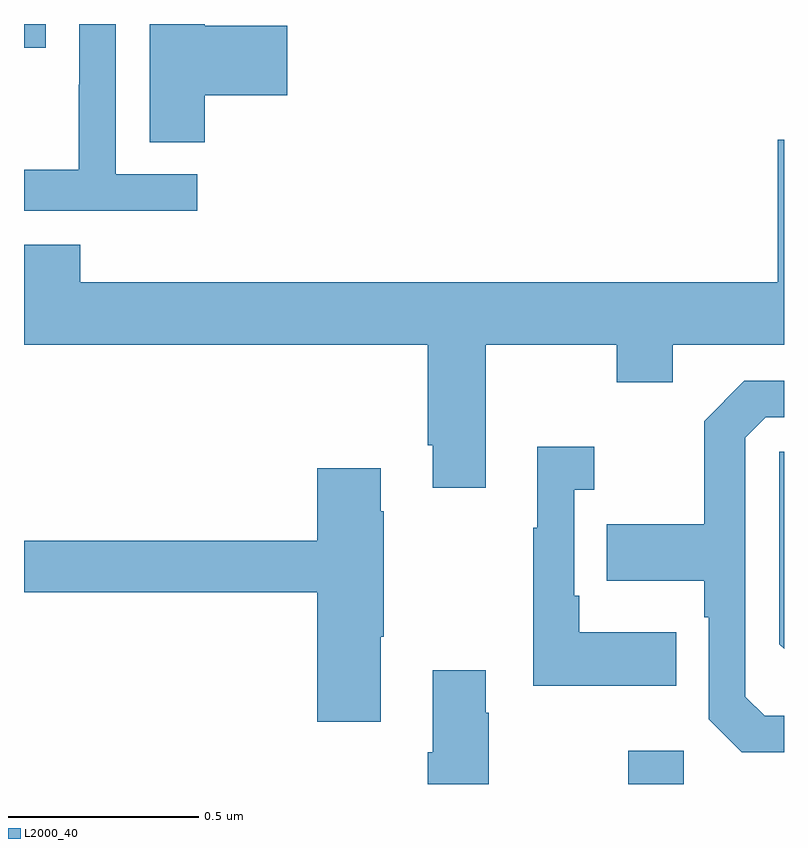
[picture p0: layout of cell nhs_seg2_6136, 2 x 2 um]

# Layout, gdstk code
import gdstk
lib = gdstk.Library(unit=1e-6, precision=1e-09)
def R(c, l, rs):  # rectangles x0, y0, x1, y1
    for r in rs: c.add(gdstk.rectangle(r[:2], r[2:], *l))
def P(c, l, *ps):  # polygons
    for p in ps: c.add(gdstk.Polygon(p, *l))
L2000_40 = (2000, 40)

nhs_seg2_6136 = lib.new_cell('nhs_seg2_6136')
R(nhs_seg2_6136, L2000_40, [(188.59,659.8,188.736,659.887), (187,661.737,187.057,661.8)])
P(nhs_seg2_6136, L2000_40, [(187.456,661.404),(187.242,661.404),(187.242,661.8),(187.146,661.8),(187.146,661.64),(187.144,661.64),(187.144,661.417),(187,661.417),(187,661.308),(187.456,661.308)],
  [(187.475,661.613),(187.693,661.613),(187.693,661.796),(187.475,661.796),(187.475,661.8),(187.331,661.8),(187.331,661.489),(187.475,661.489)],
  [(188.215,660.956),(188.56,660.956),(188.56,660.857),(188.707,660.857),(188.707,660.956),(189,660.956),(189,661.495),(188.984,661.495),(188.984,661.12),(187.148,661.12),(187.148,661.219),(187,661.219),(187,660.956),(188.063,660.956),(188.063,660.691),(188.075,660.691),(188.075,660.579),(188.215,660.579)],
  [(189,659.979),(188.949,659.979),(188.898,660.03),(188.898,660.711),(188.952,660.765),(189,660.765),(189,660.861),(188.895,660.861),(188.79,660.755),(188.79,660.483),(188.533,660.483),(188.533,660.335),(188.79,660.335),(188.79,660.239),(188.802,660.239),(188.802,659.97),(188.889,659.883),(189,659.883)],
  [(188.717,660.199),(188.461,660.199),(188.461,660.295),(188.448,660.295),(188.448,660.575),(188.5,660.575),(188.5,660.688),(188.351,660.688),(188.351,660.475),(188.34,660.475),(188.34,660.059),(188.717,660.059)],
  [(189,660.675),(188.988,660.675),(188.988,660.168),(189,660.156)],
  [(187.939,660.187),(187.947,660.187),(187.947,660.518),(187.939,660.518),(187.939,660.631),(187.772,660.631),(187.772,660.44),(187,660.44),(187,660.304),(187.772,660.304),(187.772,659.964),(187.939,659.964)],
  [(188.223,659.987),(188.215,659.987),(188.215,660.1),(188.075,660.1),(188.075,659.884),(188.063,659.884),(188.063,659.8),(188.223,659.8)])

lib.write_gds('nhs_seg2_6136.gds')
